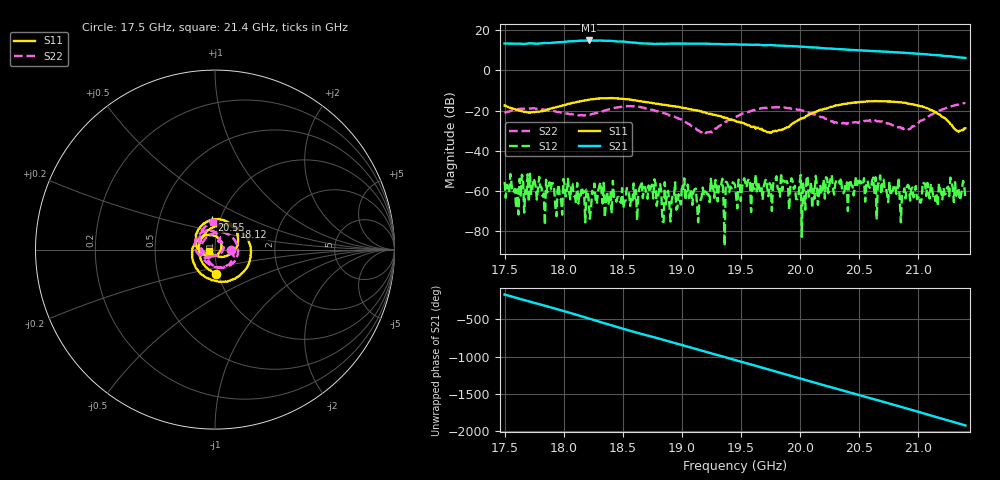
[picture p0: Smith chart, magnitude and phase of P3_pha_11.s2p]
!Created with skrf (http://scikit-rf.org).
# GHz S RI R 50.0
!freq ReS11 ImS11 ReS21 ImS21 ReS12 ImS12 ReS22 ImS22
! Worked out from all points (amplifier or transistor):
!   401 points, 17.5 GHz to 21.4 GHz, reference 50 ohm
!   highest |S21| = 14.9 dB at 18.21 GHz (marker M1)
!   |S21| within 3 dB of that: start of sweep to 19.98 GHz
!   unconditionally stable (mu >= 1): start of sweep to end of sweep
!   at 18.14 GHz: K = 115.02, MAG = 14.9 dB, |S12| = -62.3 dB
!   at 19.45 GHz: K = 79.48, MAG = 13.0 dB, |S12| = -57.1 dB
!   at 21.4 GHz: K = 374.59, MAG = 6.3 dB, |S12| = -63.9 dB
!   S11 on the Smith chart (normalised r, x): 17.5 GHz: 0.98, -0.26; 18.12 GHz: 1.20, +0.31; 20.55 GHz: 0.91, +0.31; 21.4 GHz: 0.93, -0.01
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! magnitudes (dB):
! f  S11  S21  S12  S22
! 17.5 GHz  -17.5  13.4  -55.6  -21.2
! 17.6 GHz  -19.6  13.4  -68.7  -19.5
! 17.73 GHz  -20.8  13.5  -59.3  -18.9
! 17.82 GHz  -20.2  13.6  -62.8  -19.4
! 17.89 GHz  -19.0  13.7  -59.3  -20.0
! 17.95 GHz  -18.0  14.0  -59.4  -20.8
! 18.02 GHz  -17.1  14.3  -62.8  -21.4
! 18.12 GHz  -15.6  14.7  -66.3  -22.4
! 18.15 GHz  -15.3  14.8  -58.1  -22.2
! 18.21 GHz  -14.6  14.9  -64.6  -21.9
! 18.81 GHz  -16.8  13.3  -59.7  -20.6
! 18.97 GHz  -18.1  13.4  -61.7  -24.1
! 19.03 GHz  -18.8  13.4  -64.7  -25.7
! 19.15 GHz  -20.2  13.3  -66.1  -30.1
! 19.19 GHz  -20.9  13.3  -62.5  -31.1
! 19.45 GHz  -25.0  13.0  -57.1  -23.4
! 19.74 GHz  -30.9  12.6  -56.1  -18.5
! 19.86 GHz  -29.3  12.3  -54.9  -18.5
! 20.1 GHz  -21.2  11.4  -68.6  -21.7
! 20.55 GHz  -15.5  9.8  -65.4  -25.2
! 20.76 GHz  -15.5  9.2  -55.3  -26.6
! 21.4 GHz  -28.8  6.2  -63.9  -16.2
